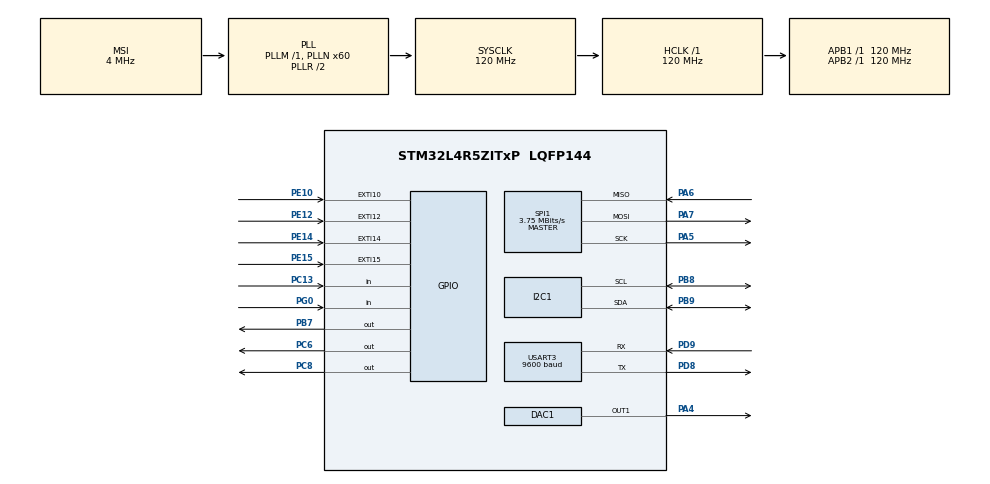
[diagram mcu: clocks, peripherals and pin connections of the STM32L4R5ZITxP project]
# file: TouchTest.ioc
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Dma.Request0=SPI1_TX
Dma.SPI1_TX.0.Direction=DMA_MEMORY_TO_PERIPH
Dma.SPI1_TX.0.EventEnable=DISABLE
Dma.SPI1_TX.0.Instance=DMA1_Channel1
Dma.SPI1_TX.0.MemDataAlignment=DMA_MDATAALIGN_BYTE
Dma.SPI1_TX.0.MemInc=DMA_MINC_ENABLE
Dma.SPI1_TX.0.Mode=DMA_NORMAL
Dma.SPI1_TX.0.PeriphDataAlignment=DMA_PDATAALIGN_BYTE
Dma.SPI1_TX.0.PeriphInc=DMA_PINC_DISABLE
Dma.SPI1_TX.0.Polarity=HAL_DMAMUX_REQUEST_GEN_RISING
Dma.SPI1_TX.0.Priority=DMA_PRIORITY_LOW
Dma.SPI1_TX.0.RequestNumber=1
Dma.SPI1_TX.0.SignalID=NONE
Dma.SPI1_TX.0.SyncEnable=DISABLE
Dma.SPI1_TX.0.SyncPolarity=HAL_DMAMUX_SYNC_NO_EVENT
Dma.SPI1_TX.0.SyncRequestNumber=1
Dma.SPI1_TX.0.SyncSignalID=NONE
I2C1.CustomTiming=Disabled
I2C1.Timing=0x307075B1
Mcu.Family=STM32L4
Mcu.Name=STM32L4R5ZITxP
Mcu.Package=LQFP144
NVIC.DMA1_Channel1_IRQn=true\:0\:0\:false\:false\:true\:false\:true\:true
NVIC.EXTI15_10_IRQn=true\:1\:0\:true\:false\:true\:true\:true\:true
NVIC.PriorityGroup=NVIC_PRIORITYGROUP_4
NVIC.TIM4_IRQn=true\:0\:0\:false\:false\:true\:true\:true\:true
NVIC.USART3_IRQn=true\:0\:0\:false\:false\:true\:true\:true\:true
PA0.Signal=S_TIM2_CH1
PA1.Signal=ADCx_IN6
PA10.Signal=USB_OTG_FS_ID
PA13\ (JTMS/SWDIO).Signal=SYS_JTMS-SWDIO
PA14\ (JTCK/SWCLK).Signal=SYS_JTCK-SWCLK
PA3.Signal=ADCx_IN8
PA4.Signal=COMP_DAC11_group
PA5.GPIO_PuPd=GPIO_NOPULL
PA5.Mode=Full_Duplex_Master
PA5.Signal=SPI1_SCK
PA6.GPIO_PuPd=GPIO_NOPULL
PA6.Mode=Full_Duplex_Master
PA6.Signal=SPI1_MISO
PA7.GPIO_PuPd=GPIO_NOPULL
PA7.Mode=Full_Duplex_Master
PA7.Signal=SPI1_MOSI
PA8.Signal=USB_OTG_FS_SOF
PA9.Signal=USB_OTG_FS_VBUS
PB0.Signal=S_TIM3_CH3
PB1.Signal=ADCx_IN16
PB10.Signal=S_TIM2_CH3
PB12.Signal=SAI2_FS_A
PB13.Signal=SAI2_SCK_A
PB14.Signal=S_TIM15_CH1
PB15.Signal=SAI2_SD_A
PB2.Signal=COMP1_INP
PB6.Signal=COMP2_INP
PB7.Signal=GPIO_Output
PB8.Mode=I2C
PB8.Signal=I2C1_SCL
PB9.Mode=I2C
PB9.Signal=I2C1_SDA
PC0.Signal=ADCx_IN1
PC1.Signal=ADCx_IN2
PC10.Signal=SDMMC1_D2
PC11.Signal=SDMMC1_D3
PC12.Signal=SDMMC1_CK
PC13.Signal=GPIO_Input
PC14-OSC32_IN\ (PC14).Signal=RCC_OSC32_IN
PC15-OSC32_OUT\ (PC15).Signal=RCC_OSC32_OUT
PC2.Signal=ADCx_IN3
PC3.Signal=ADCx_IN4
PC4.Signal=ADCx_IN13
PC5.Signal=ADCx_IN14
PC6.GPIO_PuPd=GPIO_PULLUP
PC6.Signal=GPIO_Output
PC7.Signal=S_TIM3_CH2
PC8.GPIO_PuPd=GPIO_PULLUP
PC8.Signal=GPIO_Output
PC9.Signal=SDMMC1_D1
PD0.Signal=CAN1_RX
PD14.Signal=S_TIM4_CH3
PD15.Signal=S_TIM4_CH4
PD2.Signal=SDMMC1_CMD
PD3.Signal=USART2_CTS
PD4.Signal=USART2_RTS
PD5.Signal=USART2_TX
PD6.Signal=USART2_RX
PD8.Mode=Asynchronous
PD8.Signal=USART3_TX
PD9.Mode=Asynchronous
PD9.Signal=USART3_RX
PE0.Signal=S_TIM4_ETR
PE10.GPIO_ModeDefaultEXTI=GPIO_MODE_IT_FALLING
PE10.Signal=GPXTI10
PE11.Signal=S_TIM1_CH2
PE12.GPIO_ModeDefaultEXTI=GPIO_MODE_IT_FALLING
PE12.Signal=GPXTI12
PE13.Signal=S_TIM1_CH3
PE14.GPIO_ModeDefaultEXTI=GPIO_MODE_IT_FALLING
PE14.Signal=GPXTI14
PE15.GPIO_ModeDefaultEXTI=GPIO_MODE_IT_FALLING
PE15.Signal=GPXTI15
PE2.Signal=SAI1_MCLK_A
PE3.Signal=SAI1_SD_B
PE7.Signal=S_TIM1_ETR
PE8.Signal=TIM1_CH1N
PE9.Signal=S_TIM1_CH1
PF0.Signal=I2C2_SDA
PF1.Signal=I2C2_SCL
PF2.Signal=I2C2_SMBA
PF7.Signal=SAI1_MCLK_B
PG0.GPIO_PuPd=GPIO_PULLUP
PG0.Signal=GPIO_Input
PG7.Signal=LPUART1_TX
PG8.Signal=LPUART1_RX
PH0-OSC_IN\ (PH0).Signal=RCC_OSC_IN
PH1-OSC_OUT\ (PH1).Signal=RCC_OSC_OUT
ProjectManager.HeapSize=0x200
ProjectManager.StackSize=0x400
ProjectManager.TargetToolchain=STM32CubeIDE
RCC.ADCFreq_Value=32000000
RCC.AHBFreq_Value=120000000
RCC.APB1Freq_Value=120000000
RCC.APB1TimFreq_Value=120000000
RCC.APB2Freq_Value=120000000
RCC.APB2TimFreq_Value=120000000
RCC.CortexFreq_Value=120000000
RCC.HCLKFreq_Value=120000000
RCC.HSE_VALUE=8000000
RCC.HSI48_VALUE=48000000
RCC.HSI_VALUE=16000000
RCC.LSE_VALUE=32768
RCC.MSI_VALUE=4000000
RCC.PLLN=60
RCC.PLLSAI1N=16
RCC.SYSCLKFreq_VALUE=120000000
RCC.SYSCLKSource=RCC_SYSCLKSOURCE_PLLCLK
RCC.USBFreq_Value=32000000
RCC.VCOOutputFreq_Value=240000000
SH.ADCx_IN1.0=ADC1_IN1
SH.ADCx_IN13.0=ADC1_IN13
SH.ADCx_IN14.0=ADC1_IN14
SH.ADCx_IN16.0=ADC1_IN16
SH.ADCx_IN2.0=ADC1_IN2
SH.ADCx_IN3.0=ADC1_IN3
SH.ADCx_IN4.0=ADC1_IN4
SH.ADCx_IN6.0=ADC1_IN6
SH.ADCx_IN8.0=ADC1_IN8
SH.COMP_DAC11_group.0=DAC1_OUT1,DAC_OUT1
SH.S_TIM15_CH1.0=TIM15_CH1
SH.S_TIM1_CH1.0=TIM1_CH1
SH.S_TIM1_CH2.0=TIM1_CH2
SH.S_TIM1_CH3.0=TIM1_CH3
SH.S_TIM1_ETR.0=TIM1_ETR
SH.S_TIM2_CH1.0=TIM2_CH1
SH.S_TIM2_CH3.0=TIM2_CH3
SH.S_TIM3_CH2.0=TIM3_CH2
SH.S_TIM3_CH3.0=TIM3_CH3
SH.S_TIM4_CH3.0=TIM4_CH3
SH.S_TIM4_CH4.0=TIM4_CH4
SH.S_TIM4_ETR.0=TIM4_ETR
SPI1.BaudRatePrescaler=SPI_BAUDRATEPRESCALER_32
SPI1.CalculateBaudRate=3.75 MBits/s
SPI1.DataSize=SPI_DATASIZE_8BIT
SPI1.Direction=SPI_DIRECTION_2LINES
SPI1.Mode=SPI_MODE_MASTER
SPI1.VirtualType=VM_MASTER
USART3.BaudRate=9600
USART3.Mode=MODE_RX
USART3.VirtualMode-Asynchronous=VM_ASYNC
VP_TIM4_VS_ClockSourceINT.Mode=Internal
board=NUCLEO-L4R5ZI-P

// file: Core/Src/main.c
/* USER CODE BEGIN Header */
/**
  ******************************************************************************
  * @file           : main.c
  * @brief          : Main program body
  ******************************************************************************
  * @attention
  *
  * Copyright (c) 2024 STMicroelectronics.
  * All rights reserved.
  *
  * This software is licensed under terms that can be found in the LICENSE file
  * in the root directory of this software component.
  * If no LICENSE file comes with this software, it is provided AS-IS.
  *
  ******************************************************************************
  */
/* USER CODE END Header */
#include "main.h"

/* USER CODE BEGIN Includes */
#include "audio.h"
#include "mpr121.h"
#include "display.h"
/* USER CODE END Includes */

/* USER CODE BEGIN PD */
#define TOUCH_W_A (0x5A << 1)
#define TOUCH_R_A (0x5A << 1) | 1

#define ECR 0x5E
#define SOFT_RST 0x80
#define TOUCH_STATUS 0x00

/* USER CODE END PD */

DAC_HandleTypeDef hdac1;

I2C_HandleTypeDef hi2c1;

SPI_HandleTypeDef hspi1;
DMA_HandleTypeDef hdma_spi1_tx;

TIM_HandleTypeDef htim4;

UART_HandleTypeDef huart3;

/* USER CODE BEGIN PV */
volatile uint8_t touch_status; // has an unserviced touch been detected
volatile uint16_t intr_addr;
volatile uint8_t  octave_no; // which octave was the key pressed in -> 0 to 4
volatile uint8_t sustain; // sustain button pressed
volatile uint8_t mode; // has a request to change mode been sent
volatile uint8_t chmod; // set to 1 whenever blue button pressed
volatile uint8_t tutorial_mode; // set to 1 when in tutorial mode
volatile int best_index;
volatile int pressure_wait;
uint16_t l_pressure = 0, r_pressure = 0;

/* USER CODE END PV */

void SystemClock_Config(void);
static void MX_GPIO_Init(void);
static void MX_DMA_Init(void);
static void MX_I2C1_Init(void);
static void MX_DAC1_Init(void);
static void MX_TIM4_Init(void);
static void MX_SPI1_Init(void);
static void MX_USART3_UART_Init(void);

int main(void)
{

  /* MCU Configuration--------------------------------------------------------*/

  /* Reset of all peripherals, Initializes the Flash interface and the Systick. */
  HAL_Init();

  /* Configure the system clock */
  SystemClock_Config();

  /* Initialize all configured peripherals */
  MX_GPIO_Init();
  MX_DMA_Init();
  MX_I2C1_Init();
  MX_DAC1_Init();
  MX_TIM4_Init();
  MX_SPI1_Init();
  MX_USART3_UART_Init();
  /* USER CODE BEGIN 2 */
//
//  for (uint8_t addr = 0x5A; addr <= 0x5D; addr++) {
//  	  if (mpr121_init(addr) != 0) {
//  		  // TBD: ERROR
//  	  }
//  }

  // resetting touch status
  touch_status = 0;

  // Initialize DAC
  HAL_DAC_SetValue(&hdac1, DAC_CHANNEL_1, DAC_ALIGN_12B_R, 0);
  HAL_DAC_Start(&hdac1, DAC_CHANNEL_1);

  // Initialize audio stuff

  disp_init();
  init_audio_ctx();
  init_timer();
  pressure_read_start();
  /* USER CODE END 2 */

  /* Infinite loop */
  /* USER CODE BEGIN WHILE */
  uint8_t change_butt;
  uint16_t touch_value;
  uint16_t prev_touch_value;
  sustain = 0;
  mode = 0;
  tutorial_mode = 0;

  HAL_Delay(2000);
  disp_fill_rect(0, 0, DISP_WIDTH, DISP_HEIGHT, BLACK);
  print_mode();
  disp_print("Press any key to start", 40, CORR_Y, 3, 0x0f6f, 0x0000);
  while(!touch_status){ /// stay here until a key is pressed
	  change_butt = HAL_GPIO_ReadPin(GPIOC, GPIO_PIN_13);
	  if (change_butt) {
		  mode = (mode + 1) % NUM_MODES;
		  init_audio_ctx();
		  print_mode();
	  }
  }

  disp_print("Press any key to start", 40, CORR_Y, 3, 0x0000, 0x0000);

  while (1)
  {
	  if (touch_status) { // touch status set to 1 by ISR
		  touch_status = 0;
		  touch_value = mpr121_read_touch_status(0x5A + octave_no);
		  uint16_t changes = touch_value ^ prev_touch_value;

		  if (octave_no == 4) {
		  }
		  uint8_t octave_A = (octave_no * 12); // A note idx for octave
		  for (int i = 0; i < 12; i++) {
			  int mask = (1 << i);
			  if (mask & changes) {
				  if (mask & touch_value) { // if note i in octave was pressed

					  float pressure = 0;
					  if(octave_A + i < 24 && l_pressure >= 0.1) {
						  pressure = l_pressure;
					  }
					  else if (octave_A + i >= 24 && r_pressure >= 0.1) {
						  pressure = r_pressure;
					  }
					  else{
						  pressure = 0.7;
					  }
					  add_note(octave_A + i,pressure);
				  } else {
					  // Remove finger
					  set_damp_factor(octave_A + i, 1);
				  }
			  }
		  }
		  prev_touch_value = touch_value;
	  }
	  sustain = !HAL_GPIO_ReadPin(GPIOG, GPIO_PIN_0);
	  change_butt = HAL_GPIO_ReadPin(GPIOC, GPIO_PIN_13);
	  if (change_butt) {
		  mode = (mode + 1) % NUM_MODES;
		  init_audio_ctx();
		  print_mode();
	  }

	  if(sustain && change_butt){
		  const uint16_t x = (DISP_WIDTH -150);
		  const uint16_t y = (DISP_HEIGHT - 100);
		  tut_init_display();
		  tutorial_mode = 1;
	  }
    /* USER CODE END WHILE */

  }
}

void SystemClock_Config(void)
{
  RCC_OscInitTypeDef RCC_OscInitStruct = {0};
  RCC_ClkInitTypeDef RCC_ClkInitStruct = {0};

  /** Configure the main internal regulator output voltage
  */
  if (HAL_PWREx_ControlVoltageScaling(PWR_REGULATOR_VOLTAGE_SCALE1_BOOST) != HAL_OK)
  {
    Error_Handler();
  }

  /** Initializes the RCC Oscillators according to the specified parameters
  * in the RCC_OscInitTypeDef structure.
  */
  RCC_OscInitStruct.OscillatorType = RCC_OSCILLATORTYPE_MSI;
  RCC_OscInitStruct.MSIState = RCC_MSI_ON;
  RCC_OscInitStruct.MSICalibrationValue = 0;
  RCC_OscInitStruct.MSIClockRange = RCC_MSIRANGE_6;
  RCC_OscInitStruct.PLL.PLLState = RCC_PLL_ON;
  RCC_OscInitStruct.PLL.PLLSource = RCC_PLLSOURCE_MSI;
  RCC_OscInitStruct.PLL.PLLM = 1;
  RCC_OscInitStruct.PLL.PLLN = 60;
  RCC_OscInitStruct.PLL.PLLP = RCC_PLLP_DIV2;
  RCC_OscInitStruct.PLL.PLLQ = RCC_PLLQ_DIV2;
  RCC_OscInitStruct.PLL.PLLR = RCC_PLLR_DIV2;
  if (HAL_RCC_OscConfig(&RCC_OscInitStruct) != HAL_OK)
  {
    Error_Handler();
  }

  /** Initializes the CPU, AHB and APB buses clocks
  */
  RCC_ClkInitStruct.ClockType = RCC_CLOCKTYPE_HCLK|RCC_CLOCKTYPE_SYSCLK
                              |RCC_CLOCKTYPE_PCLK1|RCC_CLOCKTYPE_PCLK2;
  RCC_ClkInitStruct.SYSCLKSource = RCC_SYSCLKSOURCE_PLLCLK;
  RCC_ClkInitStruct.AHBCLKDivider = RCC_SYSCLK_DIV1;
  RCC_ClkInitStruct.APB1CLKDivider = RCC_HCLK_DIV1;
  RCC_ClkInitStruct.APB2CLKDivider = RCC_HCLK_DIV1;

  if (HAL_RCC_ClockConfig(&RCC_ClkInitStruct, FLASH_LATENCY_5) != HAL_OK)
  {
    Error_Handler();
  }
}

static void MX_DAC1_Init(void)
{

  DAC_ChannelConfTypeDef sConfig = {0};

  /** DAC Initialization
  */
  hdac1.Instance = DAC1;
  if (HAL_DAC_Init(&hdac1) != HAL_OK)
  {
    Error_Handler();
  }

  /** DAC channel OUT1 config
  */
  sConfig.DAC_SampleAndHold = DAC_SAMPLEANDHOLD_DISABLE;
  sConfig.DAC_Trigger = DAC_TRIGGER_NONE;
  sConfig.DAC_HighFrequency = DAC_HIGH_FREQUENCY_INTERFACE_MODE_ABOVE_80MHZ;
  sConfig.DAC_OutputBuffer = DAC_OUTPUTBUFFER_ENABLE;
  sConfig.DAC_ConnectOnChipPeripheral = DAC_CHIPCONNECT_DISABLE;
  sConfig.DAC_UserTrimming = DAC_TRIMMING_FACTORY;
  if (HAL_DAC_ConfigChannel(&hdac1, &sConfig, DAC_CHANNEL_1) != HAL_OK)
  {
    Error_Handler();
  }

}

static void MX_I2C1_Init(void)
{

  hi2c1.Instance = I2C1;
  hi2c1.Init.Timing = 0x307075B1;
  hi2c1.Init.OwnAddress1 = 0;
  hi2c1.Init.AddressingMode = I2C_ADDRESSINGMODE_7BIT;
  hi2c1.Init.DualAddressMode = I2C_DUALADDRESS_DISABLE;
  hi2c1.Init.OwnAddress2 = 0;
  hi2c1.Init.OwnAddress2Masks = I2C_OA2_NOMASK;
  hi2c1.Init.GeneralCallMode = I2C_GENERALCALL_DISABLE;
  hi2c1.Init.NoStretchMode = I2C_NOSTRETCH_DISABLE;
  if (HAL_I2C_Init(&hi2c1) != HAL_OK)
  {
    Error_Handler();
  }

  /** Configure Analogue filter
  */
  if (HAL_I2CEx_ConfigAnalogFilter(&hi2c1, I2C_ANALOGFILTER_ENABLE) != HAL_OK)
  {
    Error_Handler();
  }

  /** Configure Digital filter
  */
  if (HAL_I2CEx_ConfigDigitalFilter(&hi2c1, 0) != HAL_OK)
  {
    Error_Handler();
  }

}

static void MX_SPI1_Init(void)
{

  /* SPI1 parameter configuration*/
  hspi1.Instance = SPI1;
  hspi1.Init.Mode = SPI_MODE_MASTER;
  hspi1.Init.Direction = SPI_DIRECTION_2LINES;
  hspi1.Init.DataSize = SPI_DATASIZE_8BIT;
  hspi1.Init.CLKPolarity = SPI_POLARITY_LOW;
  hspi1.Init.CLKPhase = SPI_PHASE_1EDGE;
  hspi1.Init.NSS = SPI_NSS_SOFT;
  hspi1.Init.BaudRatePrescaler = SPI_BAUDRATEPRESCALER_32;
  hspi1.Init.FirstBit = SPI_FIRSTBIT_MSB;
  hspi1.Init.TIMode = SPI_TIMODE_DISABLE;
  hspi1.Init.CRCCalculation = SPI_CRCCALCULATION_DISABLE;
  hspi1.Init.CRCPolynomial = 7;
  hspi1.Init.CRCLength = SPI_CRC_LENGTH_DATASIZE;
  hspi1.Init.NSSPMode = SPI_NSS_PULSE_ENABLE;
  if (HAL_SPI_Init(&hspi1) != HAL_OK)
  {
    Error_Handler();
  }

}

static void MX_TIM4_Init(void)
{

  TIM_ClockConfigTypeDef sClockSourceConfig = {0};
  TIM_MasterConfigTypeDef sMasterConfig = {0};

  htim4.Instance = TIM4;
  htim4.Init.Prescaler = 0;
  htim4.Init.CounterMode = TIM_COUNTERMODE_UP;
  htim4.Init.Period = 65535;
  htim4.Init.ClockDivision = TIM_CLOCKDIVISION_DIV1;
  htim4.Init.AutoReloadPreload = TIM_AUTORELOAD_PRELOAD_DISABLE;
  if (HAL_TIM_Base_Init(&htim4) != HAL_OK)
  {
    Error_Handler();
  }
  sClockSourceConfig.ClockSource = TIM_CLOCKSOURCE_INTERNAL;
  if (HAL_TIM_ConfigClockSource(&htim4, &sClockSourceConfig) != HAL_OK)
  {
    Error_Handler();
  }
  sMasterConfig.MasterOutputTrigger = TIM_TRGO_RESET;
  sMasterConfig.MasterSlaveMode = TIM_MASTERSLAVEMODE_DISABLE;
  if (HAL_TIMEx_MasterConfigSynchronization(&htim4, &sMasterConfig) != HAL_OK)
  {
    Error_Handler();
  }

}

static void MX_USART3_UART_Init(void)
{

  huart3.Instance = USART3;
  huart3.Init.BaudRate = 9600;
  huart3.Init.WordLength = UART_WORDLENGTH_8B;
  huart3.Init.StopBits = UART_STOPBITS_1;
  huart3.Init.Parity = UART_PARITY_NONE;
  huart3.Init.Mode = UART_MODE_RX;
  huart3.Init.HwFlowCtl = UART_HWCONTROL_NONE;
  huart3.Init.OverSampling = UART_OVERSAMPLING_16;
  huart3.Init.OneBitSampling = UART_ONE_BIT_SAMPLE_DISABLE;
  huart3.Init.ClockPrescaler = UART_PRESCALER_DIV1;
  huart3.AdvancedInit.AdvFeatureInit = UART_ADVFEATURE_NO_INIT;
  if (HAL_UART_Init(&huart3) != HAL_OK)
  {
    Error_Handler();
  }
  if (HAL_UARTEx_SetTxFifoThreshold(&huart3, UART_TXFIFO_THRESHOLD_1_8) != HAL_OK)
  {
    Error_Handler();
  }
  if (HAL_UARTEx_SetRxFifoThreshold(&huart3, UART_RXFIFO_THRESHOLD_1_8) != HAL_OK)
  {
    Error_Handler();
  }
  if (HAL_UARTEx_DisableFifoMode(&huart3) != HAL_OK)
  {
    Error_Handler();
  }

}

static void MX_DMA_Init(void)
{

  /* DMA controller clock enable */
  __HAL_RCC_DMAMUX1_CLK_ENABLE();
  __HAL_RCC_DMA1_CLK_ENABLE();

  /* DMA interrupt init */
  /* DMA1_Channel1_IRQn interrupt configuration */
  HAL_NVIC_SetPriority(DMA1_Channel1_IRQn, 0, 0);
  HAL_NVIC_EnableIRQ(DMA1_Channel1_IRQn);

}

static void MX_GPIO_Init(void)
{
  GPIO_InitTypeDef GPIO_InitStruct = {0};

  /* GPIO Ports Clock Enable */
  __HAL_RCC_GPIOE_CLK_ENABLE();
  __HAL_RCC_GPIOC_CLK_ENABLE();
  __HAL_RCC_GPIOF_CLK_ENABLE();
  __HAL_RCC_GPIOH_CLK_ENABLE();
  __HAL_RCC_GPIOA_CLK_ENABLE();
  __HAL_RCC_GPIOB_CLK_ENABLE();
  __HAL_RCC_GPIOG_CLK_ENABLE();
  __HAL_RCC_GPIOD_CLK_ENABLE();
  HAL_PWREx_EnableVddIO2();

  /*Configure GPIO pin Output Level */
  HAL_GPIO_WritePin(GPIOC, GPIO_PIN_6|GPIO_PIN_8, GPIO_PIN_RESET);

  /*Configure GPIO pin Output Level */
  HAL_GPIO_WritePin(GPIOB, GPIO_PIN_7, GPIO_PIN_RESET);

  /*Configure GPIO pins : PE2 PE3 */
  GPIO_InitStruct.Pin = GPIO_PIN_2|GPIO_PIN_3;
  GPIO_InitStruct.Mode = GPIO_MODE_AF_PP;
  GPIO_InitStruct.Pull = GPIO_NOPULL;
  GPIO_InitStruct.Speed = GPIO_SPEED_FREQ_LOW;
  GPIO_InitStruct.Alternate = GPIO_AF13_SAI1;
  HAL_GPIO_Init(GPIOE, &GPIO_InitStruct);

  /*Configure GPIO pin : PC13 */
  GPIO_InitStruct.Pin = GPIO_PIN_13;
  GPIO_InitStruct.Mode = GPIO_MODE_INPUT;
  GPIO_InitStruct.Pull = GPIO_NOPULL;
  HAL_GPIO_Init(GPIOC, &GPIO_InitStruct);

  /*Configure GPIO pins : PF0 PF1 PF2 */
  GPIO_InitStruct.Pin = GPIO_PIN_0|GPIO_PIN_1|GPIO_PIN_2;
  GPIO_InitStruct.Mode = GPIO_MODE_AF_OD;
  GPIO_InitStruct.Pull = GPIO_NOPULL;
  GPIO_InitStruct.Speed = GPIO_SPEED_FREQ_VERY_HIGH;
  GPIO_InitStruct.Alternate = GPIO_AF4_I2C2;
  HAL_GPIO_Init(GPIOF, &GPIO_InitStruct);

  /*Configure GPIO pin : PF7 */
  GPIO_InitStruct.Pin = GPIO_PIN_7;
  GPIO_InitStruct.Mode = GPIO_MODE_AF_PP;
  GPIO_InitStruct.Pull = GPIO_NOPULL;
  GPIO_InitStruct.Speed = GPIO_SPEED_FREQ_LOW;
  GPIO_InitStruct.Alternate = GPIO_AF13_SAI1;
  HAL_GPIO_Init(GPIOF, &GPIO_InitStruct);

  /*Configure GPIO pins : PC0 PC1 PC2 PC3
                           PC4 PC5 */
  GPIO_InitStruct.Pin = GPIO_PIN_0|GPIO_PIN_1|GPIO_PIN_2|GPIO_PIN_3
                          |GPIO_PIN_4|GPIO_PIN_5;
  GPIO_InitStruct.Mode = GPIO_MODE_ANALOG_ADC_CONTROL;
  GPIO_InitStruct.Pull = GPIO_NOPULL;
  HAL_GPIO_Init(GPIOC, &GPIO_InitStruct);

  /*Configure GPIO pin : PA0 */
  GPIO_InitStruct.Pin = GPIO_PIN_0;
  GPIO_InitStruct.Mode = GPIO_MODE_AF_PP;
  GPIO_InitStruct.Pull = GPIO_NOPULL;
  GPIO_InitStruct.Speed = GPIO_SPEED_FREQ_LOW;
  GPIO_InitStruct.Alternate = GPIO_AF1_TIM2;
  HAL_GPIO_Init(GPIOA, &GPIO_InitStruct);

  /*Configure GPIO pins : PA1 PA3 */
  GPIO_InitStruct.Pin = GPIO_PIN_1|GPIO_PIN_3;
  GPIO_InitStruct.Mode = GPIO_MODE_ANALOG_ADC_CONTROL;
  GPIO_InitStruct.Pull = GPIO_NOPULL;
  HAL_GPIO_Init(GPIOA, &GPIO_InitStruct);

  /*Configure GPIO pin : PB0 */
  GPIO_InitStruct.Pin = GPIO_PIN_0;
  GPIO_InitStruct.Mode = GPIO_MODE_AF_PP;
  GPIO_InitStruct.Pull = GPIO_NOPULL;
  GPIO_InitStruct.Speed = GPIO_SPEED_FREQ_LOW;
  GPIO_InitStruct.Alternate = GPIO_AF2_TIM3;
  HAL_GPIO_Init(GPIOB, &GPIO_InitStruct);

  /*Configure GPIO pin : PB1 */
  GPIO_InitStruct.Pin = GPIO_PIN_1;
  GPIO_InitStruct.Mode = GPIO_MODE_ANALOG_ADC_CONTROL;
  GPIO_InitStruct.Pull = GPIO_NOPULL;
  HAL_GPIO_Init(GPIOB, &GPIO_InitStruct);

  /*Configure GPIO pins : PB2 PB6 */
  GPIO_InitStruct.Pin = GPIO_PIN_2|GPIO_PIN_6;
  GPIO_InitStruct.Mode = GPIO_MODE_ANALOG;
  GPIO_InitStruct.Pull = GPIO_NOPULL;
  HAL_GPIO_Init(GPIOB, &GPIO_InitStruct);

  /*Configure GPIO pin : PG0 */
  GPIO_InitStruct.Pin = GPIO_PIN_0;
  GPIO_InitStruct.Mode = GPIO_MODE_INPUT;
  GPIO_InitStruct.Pull = GPIO_PULLUP;
  HAL_GPIO_Init(GPIOG, &GPIO_InitStruct);

  /*Configure GPIO pins : PE7 PE8 PE9 PE11
                           PE13 */
  GPIO_InitStruct.Pin = GPIO_PIN_7|GPIO_PIN_8|GPIO_PIN_9|GPIO_PIN_11
                          |GPIO_PIN_13;
  GPIO_InitStruct.Mode = GPIO_MODE_AF_PP;
  GPIO_InitStruct.Pull = GPIO_NOPULL;
  GPIO_InitStruct.Speed = GPIO_SPEED_FREQ_LOW;
  GPIO_InitStruct.Alternate = GPIO_AF1_TIM1;
  HAL_GPIO_Init(GPIOE, &GPIO_InitStruct);

  /*Configure GPIO pins : PE10 PE12 PE14 PE15 */
  GPIO_InitStruct.Pin = GPIO_PIN_10|GPIO_PIN_12|GPIO_PIN_14|GPIO_PIN_15;
  GPIO_InitStruct.Mode = GPIO_MODE_IT_FALLING;
  GPIO_InitStruct.Pull = GPIO_NOPULL;
  HAL_GPIO_Init(GPIOE, &GPIO_InitStruct);

  /*Configure GPIO pin : PB10 */
  GPIO_InitStruct.Pin = GPIO_PIN_10;
  GPIO_InitStruct.Mode = GPIO_MODE_AF_PP;
  GPIO_InitStruct.Pull = GPIO_NOPULL;
  GPIO_InitStruct.Speed = GPIO_SPEED_FREQ_LOW;
  GPIO_InitStruct.Alternate = GPIO_AF1_TIM2;
  HAL_GPIO_Init(GPIOB, &GPIO_InitStruct);

  /*Configure GPIO pins : PB12 PB13 PB15 */
  GPIO_InitStruct.Pin = GPIO_PIN_12|GPIO_PIN_13|GPIO_PIN_15;
  GPIO_InitStruct.Mode = GPIO_MODE_AF_PP;
  GPIO_InitStruct.Pull = GPIO_NOPULL;
  GPIO_InitStruct.Speed = GPIO_SPEED_FREQ_LOW;
  GPIO_InitStruct.Alternate = GPIO_AF13_SAI2;
  HAL_GPIO_Init(GPIOB, &GPIO_InitStruct);

  /*Configure GPIO pin : PB14 */
  GPIO_InitStruct.Pin = GPIO_PIN_14;
  GPIO_InitStruct.Mode = GPIO_MODE_AF_PP;
  GPIO_InitStruct.Pull = GPIO_NOPULL;
  GPIO_InitStruct.Speed = GPIO_SPEED_FREQ_LOW;
  GPIO_InitStruct.Alternate = GPIO_AF14_TIM15;
  HAL_GPIO_Init(GPIOB, &GPIO_InitStruct);

  /*Configure GPIO pins : PG7 PG8 */
  GPIO_InitStruct.Pin = GPIO_PIN_7|GPIO_PIN_8;
  GPIO_InitStruct.Mode = GPIO_MODE_AF_PP;
  GPIO_InitStruct.Pull = GPIO_NOPULL;
  GPIO_InitStruct.Speed = GPIO_SPEED_FREQ_VERY_HIGH;
  GPIO_InitStruct.Alternate = GPIO_AF8_LPUART1;
  HAL_GPIO_Init(GPIOG, &GPIO_InitStruct);

  /*Configure GPIO pins : PC6 PC8 */
  GPIO_InitStruct.Pin = GPIO_PIN_6|GPIO_PIN_8;
  GPIO_InitStruct.Mode = GPIO_MODE_OUTPUT_PP;
  GPIO_InitStruct.Pull = GPIO_PULLUP;
  GPIO_InitStruct.Speed = GPIO_SPEED_FREQ_LOW;
  HAL_GPIO_Init(GPIOC, &GPIO_InitStruct);

  /*Configure GPIO pin : PC7 */
  GPIO_InitStruct.Pin = GPIO_PIN_7;
  GPIO_InitStruct.Mode = GPIO_MODE_AF_PP;
  GPIO_InitStruct.Pull = GPIO_NOPULL;
  GPIO_InitStruct.Speed = GPIO_SPEED_FREQ_LOW;
  GPIO_InitStruct.Alternate = GPIO_AF2_TIM3;
  HAL_GPIO_Init(GPIOC, &GPIO_InitStruct);

  /*Configure GPIO pins : PC9 PC10 PC11 PC12 */
  GPIO_InitStruct.Pin = GPIO_PIN_9|GPIO_PIN_10|GPIO_PIN_11|GPIO_PIN_12;
  GPIO_InitStruct.Mode = GPIO_MODE_AF_PP;
  GPIO_InitStruct.Pull = GPIO_NOPULL;
  GPIO_InitStruct.Speed = GPIO_SPEED_FREQ_VERY_HIGH;
  GPIO_InitStruct.Alternate = GPIO_AF12_SDMMC1;
  HAL_GPIO_Init(GPIOC, &GPIO_InitStruct);

  /*Configure GPIO pins : PA8 PA10 */
  GPIO_InitStruct.Pin = GPIO_PIN_8|GPIO_PIN_10;
  GPIO_InitStruct.Mode = GPIO_MODE_AF_PP;
  GPIO_InitStruct.Pull = GPIO_NOPULL;
  GPIO_InitStruct.Speed = GPIO_SPEED_FREQ_VERY_HIGH;
  GPIO_InitStruct.Alternate = GPIO_AF10_OTG_FS;
  HAL_GPIO_Init(GPIOA, &GPIO_InitStruct);

  /*Configure GPIO pin : PA9 */
  GPIO_InitStruct.Pin = GPIO_PIN_9;
  GPIO_InitStruct.Mode = GPIO_MODE_INPUT;
  GPIO_InitStruct.Pull = GPIO_NOPULL;
  HAL_GPIO_Init(GPIOA, &GPIO_InitStruct);

  /*Configure GPIO pin : PD0 */
  GPIO_InitStruct.Pin = GPIO_PIN_0;
  GPIO_InitStruct.Mode = GPIO_MODE_AF_PP;
  GPIO_InitStruct.Pull = GPIO_NOPULL;
  GPIO_InitStruct.Speed = GPIO_SPEED_FREQ_VERY_HIGH;
  GPIO_InitStruct.Alternate = GPIO_AF9_CAN1;
  HAL_GPIO_Init(GPIOD, &GPIO_InitStruct);

  /*Configure GPIO pin : PD2 */
  GPIO_InitStruct.Pin = GPIO_PIN_2;
  GPIO_InitStruct.Mode = GPIO_MODE_AF_PP;
  GPIO_InitStruct.Pull = GPIO_NOPULL;
  GPIO_InitStruct.Speed = GPIO_SPEED_FREQ_VERY_HIGH;
  GPIO_InitStruct.Alternate = GPIO_AF12_SDMMC1;
  HAL_GPIO_Init(GPIOD, &GPIO_InitStruct);

  /*Configure GPIO pins : PD3 PD4 PD5 PD6 */
  GPIO_InitStruct.Pin = GPIO_PIN_3|GPIO_PIN_4|GPIO_PIN_5|GPIO_PIN_6;
  GPIO_InitStruct.Mode = GPIO_MODE_AF_PP;
  GPIO_InitStruct.Pull = GPIO_NOPULL;
  GPIO_InitStruct.Speed = GPIO_SPEED_FREQ_VERY_HIGH;
  GPIO_InitStruct.Alternate = GPIO_AF7_USART2;
  HAL_GPIO_Init(GPIOD, &GPIO_InitStruct);

  /*Configure GPIO pin : PB7 */
  GPIO_InitStruct.Pin = GPIO_PIN_7;
  GPIO_InitStruct.Mode = GPIO_MODE_OUTPUT_PP;
  GPIO_InitStruct.Pull = GPIO_NOPULL;
  GPIO_InitStruct.Speed = GPIO_SPEED_FREQ_LOW;
  HAL_GPIO_Init(GPIOB, &GPIO_InitStruct);

  /* EXTI interrupt init*/
  HAL_NVIC_SetPriority(EXTI15_10_IRQn, 1, 0);
  HAL_NVIC_EnableIRQ(EXTI15_10_IRQn);

}

void Error_Handler(void)
{
  __disable_irq();
  while (1)
  {
  }
}
